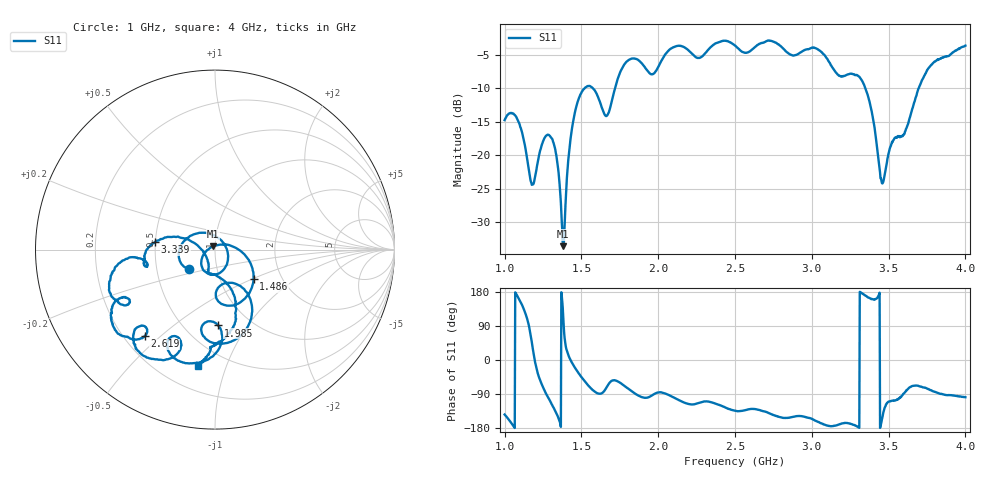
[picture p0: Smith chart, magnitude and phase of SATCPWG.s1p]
# MHz S MA R 50
!  freq  S11
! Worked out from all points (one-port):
!   1000 points, 1 GHz to 4 GHz, reference 50 ohm
!   lowest |S11| = -33.6 dB at 1.381 GHz (marker M1), VSWR 1.04, Z = 49 + j1.8 ohm
!   |S11| at or under -10 dB: start of sweep to 1.523 GHz; 1.573 GHz to 1.719 GHz (146 MHz wide, 8.87 % of centre); 3.348 GHz to 3.697 GHz (348.7 MHz wide, 9.9 % of centre)
!   S11 on the Smith chart (normalised r, x): 1 GHz: 0.73, -0.16; 1.486 GHz: 1.44, -0.51; 1.985 GHz: 0.72, -0.74; 2.619 GHz: 0.28, -0.44; 3.339 GHz: 0.50, +0.05; 4 GHz: 0.35, -0.80
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1000  0.1823 -143.9
1087.087  0.1816 166.1
1180.18  0.06028 38.2
1252.252  0.1281 -73.7
1303.303  0.1348 -113.8
1342.342  0.08981 -145.0
1375.375  0.02747 154.5
1381.381  0.02092 118.7
1429.429  0.1328 -0.3
1486.486  0.2698 -37.2
1561.562  0.3239 -74.4
1666.667  0.197 -70.4
1750.751  0.4099 -59.9
1897.898  0.4763 -98.6
1984.985  0.423 -87.5
2126.126  0.6526 -104.2
2501.502  0.6552 -134.0
2618.619  0.6217 -129.1
2753.754  0.6985 -145.9
2876.877  0.5534 -150.2
3033.033  0.6204 -162.0
3252.252  0.4046 -168.4
3339.339  0.3367 172.8
3459.459  0.06138 -151.9
3522.523  0.1255 -107.4
3627.628  0.1719 -75.7
3762.763  0.4488 -77.7
4000  0.6548 -98.2
